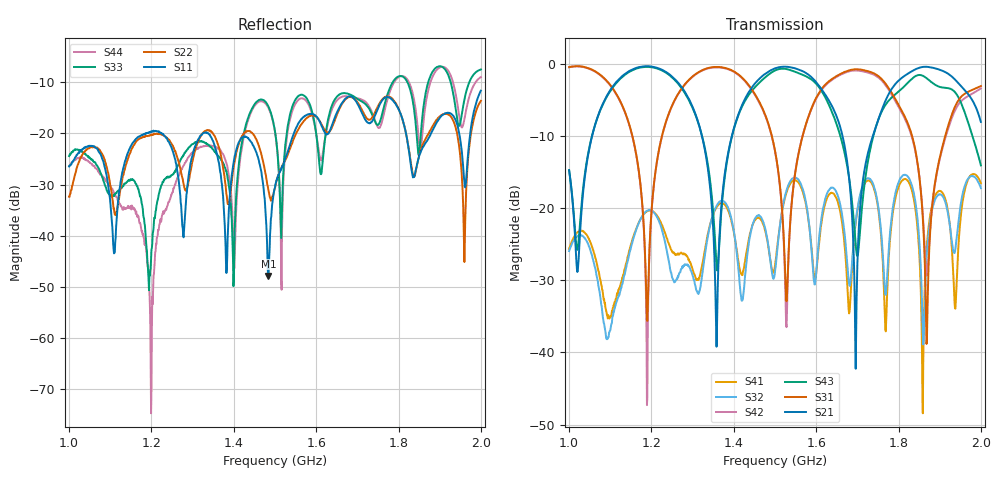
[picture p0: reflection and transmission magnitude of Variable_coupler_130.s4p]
#  HZ  S  DB  R  50.00
! Rohde & Schwarz Vector Network Analyzer
! Rohde-Schwarz,ZNB8-4Port,1311601044102961,2.82
! Created: UTC 1/17/2019, 3:17:54 PM
! freq[Hz]  db:S11  ang:S11  db:S12  ang:S12  db:S13  ang:S13  db:S14  ang:S14
!  db:S21  ang:S21  db:S22  ang:S22  db:S23  ang:S23  db:S24  ang:S24
!  db:S31  ang:S31  db:S32  ang:S32  db:S33  ang:S33  db:S34  ang:S34
!  db:S41  ang:S41  db:S42  ang:S42  db:S43  ang:S43  db:S44  ang:S44
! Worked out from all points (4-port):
!   1001 points, 1 GHz to 2 GHz, reference 50 ohm
!   strongest paths, dB at 1 GHz, 1.25 GHz, 1.5 GHz, 1.75 GHz, 2 GHz:
!     S21: -14.8, -1.8, -0.7, -7.9, -8.1
!     S31: -0.5, -5.8, -12.1, -1.7, -3.1
!     S43: -14.8, -1.9, -1.0, -7.9, -14.1
!     S42: -0.5, -5.9, -12.1, -1.9, -3.5
!     S32: -26.0, -29.6, -28.9, -19.5, -17.2
!     S41: -25.6, -26.1, -28.0, -19.8, -16.6
!   lowest |S11| = -47.9 dB at 1.484 GHz (marker M1), VSWR 1.01, Z = 49.6 + j0.0671 ohm
!   |S11| at or under -10 dB: start of sweep to end of sweep
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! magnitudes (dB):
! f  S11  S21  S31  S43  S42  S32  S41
! 1 GHz  -26.5  -14.8  -0.5  -14.8  -0.5  -26.0  -25.6
! 1.199 GHz  -19.6  -0.4  -21.4  -0.5  -21.5  -20.3  -20.4
! 1.358 GHz  -23.7  -39.2  -0.5  -27.9  -0.5  -19.7  -19.9
! 1.484 GHz  -47.9  -1.1  -8.4  -1.6  -8.4  -25.3  -25.4
! 1.696 GHz  -13.6  -42.3  -0.8  -25.1  -1.0  -21.9  -22.0
! 1.869 GHz  -21.5  -0.5  -38.2  -2.1  -29.4  -26.3  -25.1
! 2 GHz  -11.6  -8.1  -3.1  -14.1  -3.5  -17.2  -16.6
